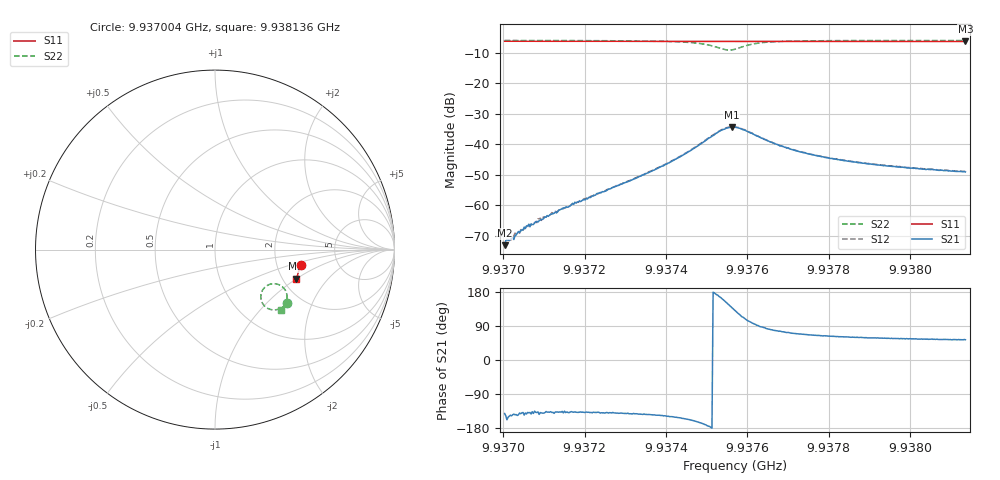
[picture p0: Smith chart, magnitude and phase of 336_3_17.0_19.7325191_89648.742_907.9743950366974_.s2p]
#  HZ  S  RI  R  50.00
! Rohde & Schwarz Vector Network Analyzer
! Rohde-Schwarz,ZNB20-2Port,1311601062101988,3.16
! Created: UTC 3/20/2024, 11:07:08 PM
! freq[Hz]  re:S11  im:S11  re:S21  im:S21  re:S12  im:S12  re:S22  im:S22
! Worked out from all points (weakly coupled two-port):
!   401 points, 9.937004 GHz to 9.938136 GHz, reference 50 ohm
!   highest |S21| = -34.43 dB at 9.937562 GHz (marker M1); lowest = -73.2 dB at 9.937004 GHz (marker M2)
!   lowest |S11| = -6.4 dB at 9.938136 GHz (marker M3), VSWR 2.85, Z = 118 - j49.6 ohm
!   |S11| at or under -10 dB: nowhere
!   |S22| runs from -9.2 to -6.0 dB; largest |S21 - S12| = 0.0008
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9.9370036e9  0.4765 -0.0884  -0.00017 -0.000137  -0.000182 -0.00012  0.3989 -0.3002
9.9370121e9  0.4764 -0.089  -0.000232 -0.000128  -0.000227 -0.000152  0.3982 -0.3008
9.9370319e9  0.4761 -0.0903  -0.000262 -0.000191  -0.000282 -0.000186  0.3969 -0.3021
9.9370574e9  0.4755 -0.0921  -0.000364 -0.000278  -0.000307 -0.000275  0.3954 -0.304
9.9370772e9  0.4752 -0.0934  -0.000362 -0.000361  -0.000375 -0.00034  0.3939 -0.3055
9.9370857e9  0.4752 -0.094  -0.000388 -0.000361  -0.000455 -0.000383  0.3931 -0.306
9.9371423e9  0.4741 -0.0978  -0.000632 -0.000576  -0.00064 -0.000589  0.3887 -0.3102
9.9371933e9  0.4732 -0.1011  -0.000876 -0.000792  -0.00093 -0.000795  0.384 -0.3143
9.9373151e9  0.4707 -0.1095  -0.00203 -0.00158  -0.00204 -0.00157  0.3683 -0.3254
9.9373831e9  0.4691 -0.114  -0.00341 -0.00232  -0.00348 -0.00229  0.3531 -0.3322
9.9374426e9  0.4677 -0.1181  -0.00596 -0.0029  -0.00612 -0.00283  0.3288 -0.3363
9.9374964e9  0.4659 -0.1217  -0.0111 -0.00188  -0.0114 -0.00168  0.2864 -0.3229
9.9375332e9  0.4644 -0.1236  -0.016 0.00393  -0.016 0.00436  0.2556 -0.2703
9.9375615e9  0.4638 -0.1242  -0.0142 0.0126  -0.0139 0.013  0.2818 -0.2067
9.93757e9  0.4637 -0.1245  -0.0122 0.0145  -0.0119 0.0149  0.3006 -0.1952
9.9375955e9  0.4642 -0.1259  -0.0052 0.016  -0.00476 0.0162  0.3569 -0.1957
9.9376295e9  0.4641 -0.1283  0.000187 0.0131  0.00042 0.0132  0.3927 -0.2278
9.9376861e9  0.4631 -0.1326  0.00248 0.00891  0.00252 0.00881  0.4017 -0.2677
9.9377598e9  0.4614 -0.1376  0.00277 0.0061  0.00287 0.00612  0.3965 -0.293
9.9378561e9  0.4592 -0.144  0.00258 0.00446  0.00267 0.00449  0.3879 -0.3101
9.9379495e9  0.4569 -0.1503  0.00236 0.00365  0.00246 0.00367  0.3805 -0.3206
9.9381364e9  0.4518 -0.162  0.00209 0.00281  0.00219 0.00282  0.3676 -0.3357
